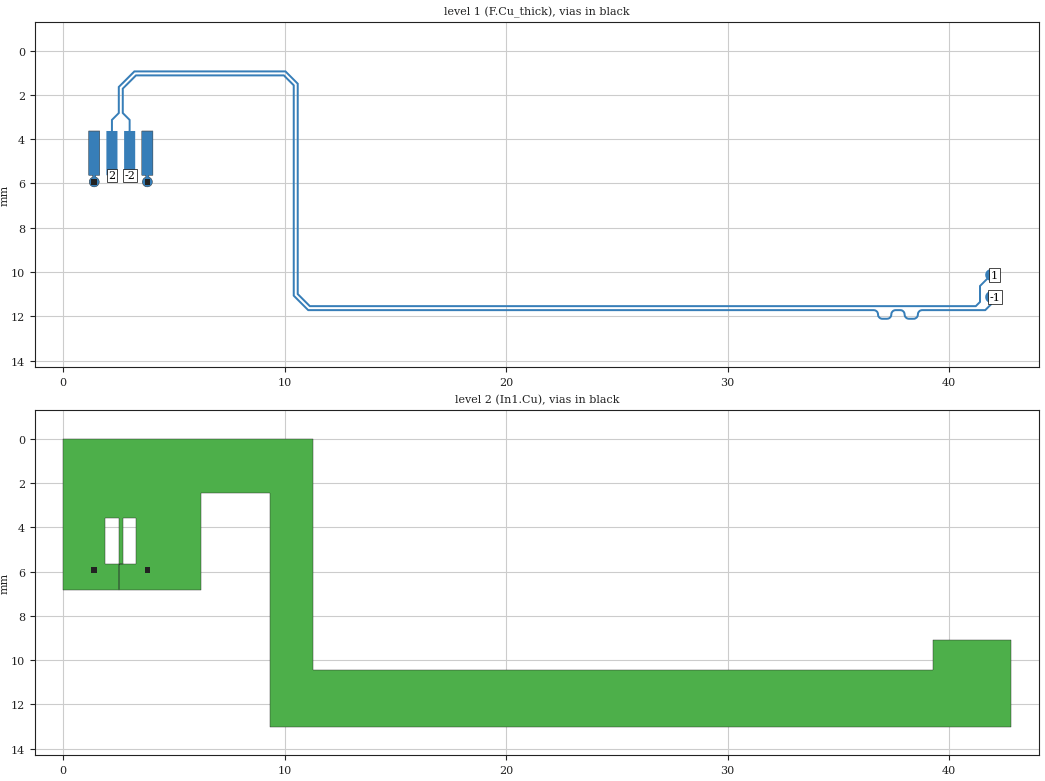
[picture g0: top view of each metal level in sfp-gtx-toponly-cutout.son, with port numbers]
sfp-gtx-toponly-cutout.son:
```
FTYP SONPROJ 19 ! Sonnet Project File
VER 18.52
HEADER
LIC antikernel2.1.51176
DAT 02/11/2022 14:53:15
BUILT_BY_CREATED xgeom 18.52 02/09/2022 03:42:16
BUILT_BY_SAVED sonnet 18.52
MDATE 02/11/2022 14:53:15
HDATE 02/11/2022 14:53:15
ANN Created by dxfgeo, Sonnet Software Inc.
END HEADER
DIM
ANG DEG
CAP PF
CON /OH
FREQ GHZ
IND NH
LNG MM
RES OH
END DIM
CONTROL
VARSWP
OPTIONS  -d
SPEED 1
CACHE_ABS 2
Q_ACC N
END CONTROL
GEO
TMET "Lossless" 0 SUP 0 0 0 0
BMET "Free Space" 0 FREESPACE 376.7303136 0 0 0
MET "Copper_1oz_thin" 1 NOR 58000000 0.5 0.035 
MET "Copper_1oz_thick" 2 TMM 58000000 0.5 0.035 2
MET "Copper_0.5oz_thin" 4 NOR 58000000 0.5 0.017 
MET "Copper_0.5oz_thick" 12 TMM 58000000 0.5 0.017 2
MET "Copper_0.5oz_thick_down" 5 TMM 58000000 0.5 0.017 2 CDVY TDWN
MET "Copper_1oz_thick_down" 3 TMM 58000000 0.5 0.035 2 CDVY TDWN
BOX 12 42.8 13 8560 2600 20 0
      5 1 1 0 0 0 0 "Air"
      0.04 3.5 1 0.025 0 0 0 "Soldermask"
      0.075 3.39 1 0.004 0 0 0 "Panasonic_R-5775(G)"
      0.068 3.56 1 0.004 0 0 0 "Panasonic_R-5670(G)"
      0.13 3.39 1 0.004 0 0 0 "Panasonic_R-5775(G)"
      0.092 3.56 1 0.004 0 0 0 "Panasonic_R-5670(G)"
      0.609 3.39 1 0.004 0 0 0 "Panasonic_R-5775(G)"
      0.092 3.56 1 0.004 0 0 0 "Panasonic_R-5670(G)"
      0.13 3.39 1 0.004 0 0 0 "Panasonic_R-5775(G)"
      0.068 3.56 1 0.004 0 0 0 "Panasonic_R-5670(G)"
      0.075 3.39 1 0.004 0 0 0 "Panasonic_R-5775(G)"
      0.04 3.5 1 0.025 0 0 0 "Soldermask"
      5 1 1 0 0 0 0 "Air"
TECHLAY METAL Metal1 <UNSPECIFIED> -2 -65534 
0 0 -1 N 24104 1 1 100 100 0 0 0 Y
END
END
TECHLAY METAL F.Cu_thick L1D0 -2 -65534 CAD F.Cu_thick drawing 
1 0 1 N 24107 1 1 100 100 0 0 0 Y
END
END
TECHLAY VIA Via1 L9D0 -13 -65534 CAD Via1 drawing 
VIA POLYGON
1 0 -1 N 24183 1 1 100 100 0 0 0 Y
TOLEVEL 10 RING NOCOVERS
END
END
TECHLAY METAL F.Cu_thin <UNSPECIFIED> -1 -65534 CAD F.Cu_thin drawing 
1 0 0 N 24119 1 1 100 100 0 0 0 Y
END
END
TECHLAY METAL In1.Cu L2D0 -3 -65534 CAD In1.Cu drawing 
2 0 0 N 24122 1 1 100 100 0 0 0 Y
END
END
TECHLAY METAL In2.Cu_thick L3D0 -5 -65534 CAD In2.Cu_thick drawing 
3 0 3 N 24125 1 1 100 100 0 0 0 Y
END
END
TECHLAY METAL In2.Cu_thin <UNSPECIFIED> -4 -65534 CAD In2.Cu drawing 
3 0 2 N 24127 1 1 100 100 0 0 0 Y
END
END
TECHLAY METAL In3.Cu L4D0 -6 -65534 CAD In3.Cu drawing 
4 0 0 N 24130 1 1 100 100 0 0 0 Y
END
END
TECHLAY METAL In4.Cu L5D0 -7 -65534 CAD In4.Cu drawing 
7 0 0 N 24135 1 1 100 100 0 0 0 Y
END
END
TECHLAY METAL In5.Cu_thick L6D0 -9 -65534 CAD In5.Cu_thick drawing 
8 0 4 N 24138 1 1 100 100 0 0 0 Y
END
END
TECHLAY METAL In5.Cu_thin <UNSPECIFIED> -8 -65534 CAD In5.Cu drawing 
8 0 2 N 24140 1 1 100 100 0 0 0 Y
END
END
TECHLAY METAL In6.Cu L7D0 -10 -65534 CAD In6.Cu drawing 
9 0 0 N 24143 1 1 100 100 0 0 0 Y
END
END
TECHLAY METAL B.Cu_thick L8D0 -12 -65534 CAD B.Cu_thick drawing 
10 0 5 N 24146 1 1 100 100 0 0 0 Y
END
END
TECHLAY METAL B.Cu_thin <UNSPECIFIED> -11 -65534 CAD B.Cu_thin drawing 
10 0 0 N 24148 1 1 100 100 0 0 0 Y
END
END
VALVAR CORE_ER NONE "table1(\"core_er.csv\",FREQ)" "Variable set in material file"
VALVAR CORE_DF NONE "table1(\"core_df.csv\",FREQ)" "Variable set in material file"
VALVAR PREPREG_DF NONE "table1(\"prepreg_df.csv\",FREQ)" "Variable set in material file"
VALVAR PREPREG_ER NONE "table1(\"prepreg_er.csv\",FREQ)" "Variable set in material file"
LORGN 0 13 U 
POR1 CUP Auto
GNDREF AUTO
TERMW FEED
POLY 23878 1
61
-1 100 0 0 0 42.063 11.13 
CUPGRP "Auto" LOCAL
ID 24179
END
POR1 CUP Auto
GNDREF AUTO
TERMW FEED
POLY 23878 1
298
-2 100 0 0 0 3 5.63 
CUPGRP "Auto" LOCAL
ID 24180
END
POR1 CUP Auto
GNDREF AUTO
TERMW FEED
POLY 23879 1
26
1 100 0 0 0 42.063 10.13 
CUPGRP "Auto" LOCAL
ID 24181
END
POR1 CUP Auto
GNDREF AUTO
TERMW FEED
POLY 23879 1
110
2 100 0 0 0 2.2 5.63 
CUPGRP "Auto" LOCAL
ID 24182
END
NUM 7
1 67 1 N 1085 1 1 100 100 0 0 0 Y
TLAYNAM F.Cu_thick INH
USER_DAT FromImport
1.389 6.155
1.367 6.153
1.345 6.148
1.324 6.142
1.304 6.133
1.284 6.123
1.266 6.111
1.249 6.097
1.233 6.081
1.219 6.064
1.207 6.046
1.197 6.026
1.188 6.006
1.182 5.985
1.177 5.963
1.175 5.941
1.175 5.919
1.177 5.897
1.182 5.875
1.188 5.854
1.197 5.834
1.207 5.814
1.219 5.796
1.233 5.779
1.249 5.763
1.266 5.749
1.284 5.737
1.304 5.727
1.324 5.718
1.33 5.716
1.33 5.63
1.15 5.63
1.15 3.63
1.65 3.63
1.65 5.63
1.47 5.63
1.47 5.716
1.476 5.718
1.496 5.727
1.516 5.737
1.534 5.749
1.551 5.763
1.567 5.779
1.581 5.796
1.593 5.814
1.603 5.834
1.612 5.854
1.618 5.875
1.623 5.897
1.625 5.919
1.625 5.941
1.623 5.963
1.618 5.985
1.612 6.006
1.603 6.026
1.593 6.046
1.581 6.064
1.567 6.081
1.551 6.097
1.534 6.111
1.516 6.123
1.496 6.133
1.476 6.142
1.455 6.148
1.433 6.153
1.411 6.155
1.389 6.155
END
1 67 1 N 1086 1 1 100 100 0 0 0 Y
TLAYNAM F.Cu_thick INH
USER_DAT FromImport
3.789 6.155
3.767 6.153
3.745 6.148
3.724 6.142
3.704 6.133
3.684 6.123
3.666 6.111
3.649 6.097
3.633 6.081
3.619 6.064
3.607 6.046
3.597 6.026
3.588 6.006
3.582 5.985
3.577 5.963
3.575 5.941
3.575 5.919
3.577 5.897
3.582 5.875
3.588 5.854
3.597 5.834
3.607 5.814
3.619 5.796
3.633 5.779
3.649 5.763
3.666 5.749
3.684 5.737
3.704 5.727
3.724 5.718
3.73 5.716
3.73 5.63
3.55 5.63
3.55 3.63
4.05 3.63
4.05 5.63
3.87 5.63
3.87 5.716
3.876 5.718
3.896 5.727
3.916 5.737
3.934 5.749
3.951 5.763
3.967 5.779
3.981 5.796
3.993 5.814
4.003 5.834
4.012 5.854
4.018 5.875
4.023 5.897
4.025 5.919
4.025 5.941
4.023 5.963
4.018 5.985
4.012 6.006
4.003 6.026
3.993 6.046
3.981 6.064
3.967 6.081
3.951 6.097
3.934 6.111
3.916 6.123
3.896 6.133
3.876 6.142
3.855 6.148
3.833 6.153
3.811 6.155
3.789 6.155
END
1 451 1 N 23878 1 1 100 100 0 0 0 Y
TLAYNAM F.Cu_thick NOH
USER_DAT FromImport
38.411 12.154
38.442 12.15
38.452 12.15
38.457 12.149
38.502 12.133
38.51 12.129
38.513 12.126
38.517 12.123
38.54 12.109
38.541 12.109
38.544 12.107
38.548 12.104
38.551 12.101
38.555 12.098
38.557 12.095
38.577 12.075
38.581 12.072
38.59 12.063
38.615 12.022
38.619 12.014
38.62 12.01
38.621 12.005
38.629 11.982
38.631 11.979
38.632 11.975
38.634 11.97
38.635 11.966
38.635 11.962
38.645 11.878
38.645 11.875
38.652 11.856
38.653 11.855
38.674 11.82
38.695 11.799
38.719 11.783
38.721 11.782
38.759 11.769
38.789 11.765
41.644 11.765
41.648 11.764
41.652 11.762
41.656 11.761
41.66 11.759
41.668 11.753
41.673 11.747
41.927 11.493
41.93 11.491
41.933 11.488
41.933 11.487
41.936 11.484
41.939 11.48
41.941 11.477
41.942 11.472
41.944 11.468
41.945 11.464
41.945 11.391
41.964 11.387
41.989 11.38
42.013 11.37
42.036 11.357
42.058 11.343
42.063 11.33875
42.063 10.92125
42.058 10.917
42.036 10.903
42.013 10.89
41.989 10.88
41.964 10.873
41.939 10.868
41.913 10.865
41.887 10.865
41.861 10.868
41.836 10.873
41.811 10.88
41.787 10.89
41.764 10.903
41.742 10.917
41.722 10.934
41.704 10.952
41.687 10.972
41.673 10.994
41.66 11.017
41.65 11.041
41.643 11.066
41.638 11.091
41.635 11.117
41.635 11.143
41.638 11.169
41.643 11.194
41.65 11.219
41.66 11.243
41.673 11.266
41.687 11.288
41.704 11.308
41.722 11.326
41.742 11.343
41.764 11.357
41.787 11.37
41.811 11.38
41.836 11.387
41.855 11.391
41.855 11.439
41.618 11.675
38.783 11.675
38.78 11.676
38.779 11.676
38.743 11.68
38.739 11.68
38.735 11.681
38.731 11.683
38.727 11.684
38.726 11.685
38.7 11.694
38.695 11.695
38.691 11.696
38.683 11.7
38.642 11.725
38.633 11.734
38.63 11.738
38.61 11.758
38.607 11.76
38.604 11.764
38.601 11.767
38.598 11.771
38.596 11.774
38.596 11.775
38.582 11.798
38.579 11.802
38.576 11.805
38.572 11.813
38.556 11.858
38.555 11.863
38.555 11.873
38.546 11.946
38.533 11.984
38.532 11.986
38.516 12.01
38.495 12.031
38.46 12.052
38.459 12.053
38.44 12.06
38.438 12.06
38.392 12.065
38.189 12.065
38.159 12.061
38.121 12.048
38.119 12.047
38.095 12.031
38.074 12.01
38.053 11.975
38.052 11.974
38.045 11.955
38.045 11.952
38.035 11.868
38.035 11.864
38.034 11.86
38.032 11.855
38.031 11.851
38.029 11.848
38.021 11.825
38.02 11.82
38.019 11.816
38.015 11.808
37.99 11.767
37.981 11.758
37.977 11.755
37.96 11.739
37.957 11.735
37.955 11.732
37.951 11.729
37.948 11.726
37.944 11.723
37.941 11.721
37.94 11.721
37.917 11.707
37.913 11.704
37.91 11.701
37.902 11.697
37.857 11.681
37.852 11.68
37.842 11.68
37.811 11.676
37.807 11.675
37.583 11.675
37.58 11.676
37.579 11.676
37.543 11.68
37.539 11.68
37.535 11.681
37.531 11.683
37.527 11.684
37.526 11.685
37.5 11.694
37.495 11.695
37.491 11.696
37.483 11.7
37.442 11.725
37.433 11.734
37.43 11.738
37.41 11.758
37.407 11.76
37.404 11.764
37.401 11.767
37.398 11.771
37.396 11.774
37.396 11.775
37.382 11.798
37.379 11.802
37.376 11.805
37.372 11.813
37.356 11.858
37.355 11.863
37.355 11.873
37.346 11.946
37.333 11.984
37.332 11.986
37.316 12.01
37.295 12.031
37.26 12.052
37.259 12.053
37.24 12.06
37.238 12.06
37.192 12.065
36.989 12.065
36.959 12.061
36.921 12.048
36.919 12.047
36.895 12.031
36.874 12.01
36.853 11.975
36.852 11.974
36.845 11.955
36.845 11.952
36.835 11.868
36.835 11.864
36.834 11.86
36.832 11.855
36.831 11.851
36.829 11.848
36.821 11.825
36.82 11.82
36.819 11.816
36.815 11.808
36.79 11.767
36.781 11.758
36.777 11.755
36.76 11.739
36.757 11.735
36.755 11.732
36.751 11.729
36.748 11.726
36.744 11.723
36.741 11.721
36.74 11.721
36.717 11.707
36.713 11.704
36.71 11.701
36.702 11.697
36.657 11.681
36.652 11.68
36.642 11.68
36.611 11.676
36.607 11.675
11.081 11.675
10.455 11.048
10.455 1.56
10.453 1.552
10.449 1.544
10.446 1.54
10.444 1.537
9.993 1.087
9.99 1.084
9.986 1.081
9.982 1.079
9.978 1.078
9.974 1.076
9.97 1.075
3.28 1.075
3.272 1.077
3.264 1.081
3.26 1.084
3.257 1.086
2.657 1.687
2.654 1.69
2.651 1.694
2.649 1.698
2.648 1.702
2.646 1.706
2.645 1.71
2.645 2.827
2.646 2.831
2.648 2.835
2.649 2.839
2.651 2.843
2.654 2.847
2.955 3.148
2.955 3.63
2.75 3.63
2.75 5.63
3.25 5.63
3.25 3.63
3.045 3.63
3.045 3.123
3.044 3.119
3.042 3.115
3.041 3.111
3.039 3.107
3.036 3.103
2.735 2.802
2.735 1.735
3.306 1.165
9.945 1.165
10.365 1.586
10.365 11.074
10.366 11.078
10.368 11.082
10.369 11.086
10.371 11.09
10.377 11.098
10.383 11.103
11.027 11.747
11.029 11.75
11.032 11.753
11.033 11.753
11.036 11.756
11.04 11.759
11.043 11.761
11.048 11.762
11.052 11.764
11.056 11.765
36.592 11.765
36.638 11.77
36.64 11.77
36.659 11.777
36.66 11.778
36.695 11.799
36.716 11.82
36.732 11.844
36.733 11.846
36.746 11.884
36.755 11.957
36.755 11.967
36.756 11.972
36.772 12.017
36.776 12.025
36.779 12.028
36.782 12.032
36.796 12.055
36.796 12.056
36.798 12.059
36.801 12.063
36.804 12.066
36.807 12.07
36.81 12.072
36.83 12.092
36.833 12.096
36.842 12.105
36.883 12.13
36.891 12.134
36.895 12.135
36.9 12.136
36.926 12.145
36.927 12.146
36.931 12.147
36.935 12.149
36.939 12.15
36.943 12.15
36.979 12.154
36.98 12.154
36.983 12.155
37.207 12.155
37.211 12.154
37.242 12.15
37.252 12.15
37.257 12.149
37.302 12.133
37.31 12.129
37.313 12.126
37.317 12.123
37.34 12.109
37.341 12.109
37.344 12.107
37.348 12.104
37.351 12.101
37.355 12.098
37.357 12.095
37.377 12.075
37.381 12.072
37.39 12.063
37.415 12.022
37.419 12.014
37.42 12.01
37.421 12.005
37.429 11.982
37.431 11.979
37.432 11.975
37.434 11.97
37.435 11.966
37.435 11.962
37.445 11.878
37.445 11.875
37.452 11.856
37.453 11.855
37.474 11.82
37.495 11.799
37.519 11.783
37.521 11.782
37.559 11.769
37.589 11.765
37.792 11.765
37.838 11.77
37.84 11.77
37.859 11.777
37.86 11.778
37.895 11.799
37.916 11.82
37.932 11.844
37.933 11.846
37.946 11.884
37.955 11.957
37.955 11.967
37.956 11.972
37.972 12.017
37.976 12.025
37.979 12.028
37.982 12.032
37.996 12.055
37.996 12.056
37.998 12.059
38.001 12.063
38.004 12.066
38.007 12.07
38.01 12.072
38.03 12.092
38.033 12.096
38.042 12.105
38.083 12.13
38.091 12.134
38.095 12.135
38.1 12.136
38.126 12.145
38.127 12.146
38.131 12.147
38.135 12.149
38.139 12.15
38.143 12.15
38.179 12.154
38.18 12.154
38.183 12.155
38.407 12.155
38.411 12.154
END
1 139 1 N 23879 1 1 100 100 0 0 0 Y
TLAYNAM F.Cu_thick NOH
USER_DAT FromImport
41.221 11.584
41.225 11.582
41.229 11.581
41.233 11.579
41.237 11.576
41.436 11.377
41.439 11.373
41.441 11.369
41.442 11.365
41.444 11.361
41.445 11.357
41.445 10.648
41.747 10.346
41.764 10.357
41.787 10.37
41.811 10.38
41.836 10.387
41.861 10.392
41.887 10.395
41.913 10.395
41.939 10.392
41.964 10.387
41.989 10.38
42.013 10.37
42.036 10.357
42.058 10.343
42.063 10.33875
42.063 9.92125
42.058 9.917
42.036 9.903
42.013 9.89
41.989 9.88
41.964 9.873
41.939 9.868
41.913 9.865
41.887 9.865
41.861 9.868
41.836 9.873
41.811 9.88
41.787 9.89
41.764 9.903
41.742 9.917
41.722 9.934
41.704 9.952
41.687 9.972
41.673 9.994
41.66 10.017
41.65 10.041
41.643 10.066
41.638 10.091
41.635 10.117
41.635 10.143
41.638 10.169
41.643 10.194
41.65 10.219
41.66 10.243
41.673 10.266
41.684 10.283
41.364 10.603
41.361 10.607
41.359 10.611
41.358 10.615
41.356 10.619
41.355 10.623
41.355 11.332
41.192 11.495
11.155 11.495
10.635 10.974
10.635 1.486
10.634 1.482
10.632 1.478
10.631 1.474
10.629 1.47
10.623 1.462
10.617 1.457
10.075 0.915
10.074 0.913
10.068 0.907
10.064 0.904
10.061 0.901
10.057 0.899
10.053 0.898
10.049 0.896
10.044 0.895
3.206 0.895
3.202 0.896
3.198 0.898
3.194 0.899
3.19 0.901
3.182 0.907
3.177 0.913
2.483 1.607
2.48 1.609
2.477 1.612
2.477 1.613
2.474 1.616
2.471 1.62
2.469 1.623
2.468 1.628
2.466 1.632
2.465 1.636
2.465 2.802
2.164 3.103
2.161 3.107
2.159 3.111
2.158 3.115
2.156 3.119
2.155 3.123
2.155 3.63
1.95 3.63
1.95 5.63
2.45 5.63
2.45 3.63
2.245 3.63
2.245 3.148
2.546 2.847
2.549 2.843
2.551 2.839
2.552 2.835
2.554 2.831
2.555 2.827
2.555 1.661
3.232 0.985
10.019 0.985
10.545 1.512
10.545 11
10.547 11.008
10.551 11.016
10.554 11.02
10.556 11.023
11.107 11.573
11.11 11.576
11.114 11.579
11.118 11.581
11.122 11.582
11.126 11.584
11.13 11.585
41.217 11.585
41.221 11.584
END
VIA POLYGON
1 5 -1 N 21416 1 1 100 100 0 0 0 Y
TOLEVEL 10 RING NOCOVERS
TLAYNAM Via1 INH
USER_DAT FromImport
1.275 6.055
1.275 5.805
1.525 5.805
1.525 6.055
1.275 6.055
END
VIA POLYGON
1 5 -1 N 21418 1 1 100 100 0 0 0 Y
TOLEVEL 10 RING NOCOVERS
TLAYNAM Via1 INH
USER_DAT FromImport
3.675 6.055
3.675 5.805
3.925 5.805
3.925 6.055
3.675 6.055
END
2 32 0 N 24162 1 1 100 100 0 0 0 Y
TLAYNAM In1.Cu INH
USER_DAT FromImport
42.8 12.598
42.8 10.168
42.8 9.105
39.26 9.105
39.26 10.43
11.3 10.43
11.3 0
0 0
0 6.84
2.5 6.84
2.5 5.68
1.9 5.68
1.9 3.58
2.5 3.58
2.5 5.63
2.5 5.68
2.7 5.68
2.7 3.58
3.3 3.58
3.3 5.68
2.7 5.68
2.5 5.68
2.5 5.68
2.5 6.84
6.2 6.84
6.2 2.45
9.35 2.45
9.35 6.84
9.35 11.33
9.35 13
42.8 13
42.8 12.598
END
END GEO
OPT
MAX 100
END OPT
VARSWP
ENABLED Y
FREQ Y AY ABS_ENTRY 0.001 16.0 -1 300 
END
END VARSWP
```
